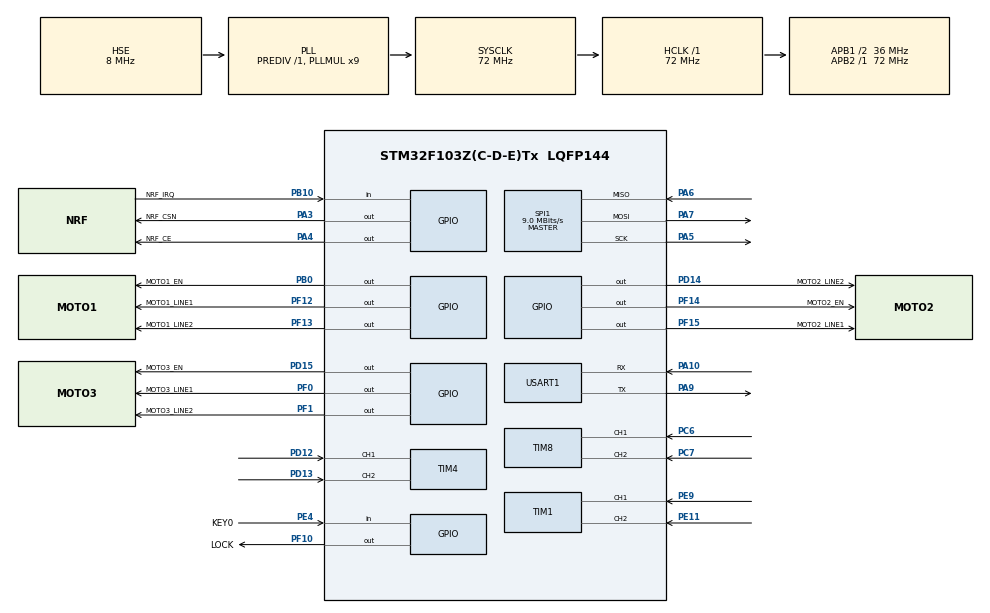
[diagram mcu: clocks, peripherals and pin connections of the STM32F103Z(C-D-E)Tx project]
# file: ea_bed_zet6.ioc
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Mcu.Family=STM32F1
Mcu.Name=STM32F103Z(C-D-E)Tx
Mcu.Package=LQFP144
NVIC.PriorityGroup=NVIC_PRIORITYGROUP_4
OSC_IN.Mode=HSE-External-Oscillator
OSC_IN.Signal=RCC_OSC_IN
OSC_OUT.Mode=HSE-External-Oscillator
OSC_OUT.Signal=RCC_OSC_OUT
PA10.Mode=Asynchronous
PA10.Signal=USART1_RX
PA13.Mode=Serial_Wire
PA13.Signal=SYS_JTMS-SWDIO
PA14.Mode=Serial_Wire
PA14.Signal=SYS_JTCK-SWCLK
PA3.GPIO_Label=NRF_CSN
PA3.GPIO_ModeDefaultOutputPP=GPIO_MODE_OUTPUT_PP
PA3.GPIO_PuPd=GPIO_PULLUP
PA3.PinState=GPIO_PIN_SET
PA3.Signal=GPIO_Output
PA4.GPIO_Label=NRF_CE
PA4.PinState=GPIO_PIN_SET
PA4.Signal=GPIO_Output
PA5.Mode=Full_Duplex_Master
PA5.Signal=SPI1_SCK
PA6.Mode=Full_Duplex_Master
PA6.Signal=SPI1_MISO
PA7.Mode=Full_Duplex_Master
PA7.Signal=SPI1_MOSI
PA9.Mode=Asynchronous
PA9.Signal=USART1_TX
PB0.GPIO_Label=MOTO1_EN
PB0.Signal=GPIO_Output
PB10.GPIO_Label=NRF_IRQ
PB10.GPIO_Mode=GPIO_MODE_INPUT
PB10.GPIO_PuPd=GPIO_PULLUP
PB10.Signal=GPIO_Input
PC6.Signal=S_TIM8_CH1
PC7.Signal=S_TIM8_CH2
PD12.Signal=S_TIM4_CH1
PD13.Signal=S_TIM4_CH2
PD14.GPIO_Label=MOTO2_LINE2
PD14.Signal=GPIO_Output
PD15.GPIO_Label=MOTO3_EN
PD15.Signal=GPIO_Output
PE11.Signal=S_TIM1_CH2
PE4.GPIO_Label=KEY0
PE4.GPIO_PuPd=GPIO_PULLDOWN
PE4.Signal=GPIO_Input
PE9.Signal=S_TIM1_CH1
PF0.GPIO_Label=MOTO3_LINE1
PF0.Signal=GPIO_Output
PF1.GPIO_Label=MOTO3_LINE2
PF1.Signal=GPIO_Output
PF10.GPIO_Label=LOCK
PF10.Signal=GPIO_Output
PF12.GPIO_Label=MOTO1_LINE1
PF12.Signal=GPIO_Output
PF13.GPIO_Label=MOTO1_LINE2
PF13.Signal=GPIO_Output
PF14.GPIO_Label=MOTO2_EN
PF14.Signal=GPIO_Output
PF15.GPIO_Label=MOTO2_LINE1
PF15.Signal=GPIO_Output
ProjectManager.HeapSize=0x200
ProjectManager.StackSize=0x400
ProjectManager.TargetToolchain=MDK-ARM V5.32
RCC.AHBFreq_Value=72000000
RCC.APB1CLKDivider=RCC_HCLK_DIV2
RCC.APB1Freq_Value=36000000
RCC.APB1TimFreq_Value=72000000
RCC.APB2Freq_Value=72000000
RCC.APB2TimFreq_Value=72000000
RCC.HCLKFreq_Value=72000000
RCC.PLLMUL=RCC_PLL_MUL9
RCC.PLLSourceVirtual=RCC_PLLSOURCE_HSE
RCC.SYSCLKFreq_VALUE=72000000
RCC.SYSCLKSource=RCC_SYSCLKSOURCE_PLLCLK
RCC.USBFreq_Value=72000000
SH.S_TIM1_CH1.0=TIM1_CH1,Encoder_Interface
SH.S_TIM1_CH2.0=TIM1_CH2,Encoder_Interface
SH.S_TIM4_CH1.0=TIM4_CH1,Encoder_Interface
SH.S_TIM4_CH2.0=TIM4_CH2,Encoder_Interface
SH.S_TIM8_CH1.0=TIM8_CH1,Encoder_Interface
SH.S_TIM8_CH2.0=TIM8_CH2,Encoder_Interface
SPI1.BaudRatePrescaler=SPI_BAUDRATEPRESCALER_8
SPI1.CalculateBaudRate=9.0 MBits/s
SPI1.Direction=SPI_DIRECTION_2LINES
SPI1.Mode=SPI_MODE_MASTER
SPI1.VirtualType=VM_MASTER
TIM1.EncoderMode=TIM_ENCODERMODE_TI12
TIM4.EncoderMode=TIM_ENCODERMODE_TI12
TIM8.EncoderMode=TIM_ENCODERMODE_TI12
USART1.VirtualMode=VM_ASYNC
board=custom

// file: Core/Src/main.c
/* USER CODE BEGIN Header */
/**
  ******************************************************************************
  * @file           : main.c
  * @brief          : Main program body
  ******************************************************************************
  * @attention
  *
  * <h2><center>&copy; Copyright (c) 2021 STMicroelectronics.
  * All rights reserved.</center></h2>
  *
  * This software component is licensed by ST under BSD 3-Clause license,
  * the "License"; You may not use this file except in compliance with the
  * License. You may obtain a copy of the License at:
  *                        opensource.org/licenses/BSD-3-Clause
  *
  ******************************************************************************
  */
/* USER CODE END Header */
#include "main.h"
#include "spi.h"
#include "tim.h"
#include "usart.h"
#include "gpio.h"

/* USER CODE BEGIN Includes */
#include <stdio.h>
#include "nrf24l01/bsp_nrf24l01.h"
#include "actuator/bsp_actuator.h"
#include "key/bsp_key.h"
#include "global_config.h"
/* USER CODE END Includes */

/* USER CODE BEGIN PTD */
typedef enum
{
	SIGNAL_BACK_UP				= 0x01,				//抬背
	SIGNAL_BACK_DOWN			= 0x02,				//降背
	SIGNAL_FOOT_UP				= 0x03,				//抬腿
	SIGNAL_FOOT_DOWN			= 0x04,				//降腿
	SIGNAL_ROTATE_CHAIR		= 0x05,				//侧坐下床，旋转成椅
	SIGNAL_ROTATE_BED			= 0x06,				//上床平躺
	SIGNAL_PART_MOVE			= 0x07,				//分离移动
	SIGNAL_RESET					= 0x08,				//一键平躺
	SIGNAL_MAX						= 0x09,
} receive_signal_t;
/* USER CODE END PTD */

/* USER CODE BEGIN PD */
#define LOCK()					HAL_GPIO_WritePin(GPIOF, GPIO_PIN_10, GPIO_PIN_SET);
#define UNLOCK()				HAL_GPIO_WritePin(GPIOF, GPIO_PIN_10, GPIO_PIN_RESET);
/* USER CODE END PD */

/* USER CODE BEGIN PV */
__IO uint16_t time_count				= 0;
uint8_t recv_signal 						= 0;
__IO uint8_t now_state 					= 0;
/* USER CODE END PV */

void SystemClock_Config(void);

int main(void)
{
  /* USER CODE BEGIN 1 */
	__IO uint8_t pre_recv_signal		= SIGNAL_MAX;
  /* USER CODE END 1 */

  /* MCU Configuration--------------------------------------------------------*/

  /* Reset of all peripherals, Initializes the Flash interface and the Systick. */
  HAL_Init();

  /* Configure the system clock */
  SystemClock_Config();

  /* Initialize all configured peripherals */
  MX_GPIO_Init();
  MX_USART1_UART_Init();
  MX_SPI1_Init();
  MX_TIM4_Init();
  MX_TIM1_Init();
  MX_TIM8_Init();
  /* USER CODE BEGIN 2 */
	NRF24L01_Init();
	NRF24L01_RX_Mode();
	while(NRF24L01_Check()) {
		printf("check error!\n");
	}
	printf("successed\n");
	ACTUATOR_Init();
  /* USER CODE END 2 */

  /* Infinite loop */
  /* USER CODE BEGIN WHILE */
  while (1)
  {
		if(NRF24L01_RxPacket(&recv_signal) != 1) {
			//接收到信号
			#if DEBUG_INFO
				printf("pre: %d recv: %d\n", pre_recv_signal, recv_signal);
			#endif
			#if TYPE == TYPE_BED
				switch (recv_signal) {
	//					case SIGNAL_BACK_UP:
	//						time_count = 0;
	//						ActuatorStart(ACTUATOR1, DIR_PUSH);
	//						break;
	//					case SIGNAL_BACK_DOWN:
	//						time_count = 0;
	//						ActuatorStart(ACTUATOR1, DIR_BACK);
	//						break;
					case SIGNAL_RESET:
						//goto 0
						ActuatorMoveToMin(ACTUATOR1);
						break;
					case SIGNAL_ROTATE_CHAIR:
						//actuator move xmm
						ActuatorMoveMmSync(ACTUATOR1, 20);
						break;
					case SIGNAL_ROTATE_BED:
						ActuatorMoveMmSync(ACTUATOR1, -20);
						break;
					case SIGNAL_PART_MOVE:
						//actuator move xmm
						//ulock
						UNLOCK();
						break;
					default:
						break;
				}
				now_state = recv_signal;
			#elif TYPE == TYPE_CHAIR
				switch (recv_signal) {
					case SIGNAL_BACK_UP:
						//抬背
						#if DEBUG_INFO
							printf("Start Moto1 pre:%d recv:%d\n", pre_recv_signal, recv_signal);
						#endif
						time_count = 0;
						if(pre_recv_signal == SIGNAL_BACK_UP) {
							break;
						}
						ActuatorStart(ACTUATOR1, DIR_PUSH);
						break;
					case SIGNAL_BACK_DOWN:
						//降背
						time_count = 0;
						if(pre_recv_signal == SIGNAL_BACK_DOWN) {
							break;
						}
						ActuatorStart(ACTUATOR1, DIR_BACK);
						break;
					case SIGNAL_FOOT_UP:
						//抬腿
						time_count = 0;
						if(pre_recv_signal == SIGNAL_FOOT_UP) {
							break;
						}
						ActuatorStart(ACTUATOR2, DIR_PUSH);
						break;
					case SIGNAL_FOOT_DOWN:
						//降腿
						time_count = 0;
						if(pre_recv_signal == SIGNAL_FOOT_DOWN) {
							break;
						}
						ActuatorStart(ACTUATOR2, DIR_BACK);
						break;
					case SIGNAL_RESET:
						//goto 0
						break;
					case SIGNAL_ROTATE_CHAIR:
						/* 旋转成椅 */
						//actuator move xmm
						if(now_state != SIGNAL_ROTATE_CHAIR && now_state != SIGNAL_PART_MOVE) {
							//抬背75
							ActuatorMoveMmSync(ACTUATOR1, 10);
							//抬腿15
							ActuatorMoveMmSync(ACTUATOR2, 10);
							//旋转90（逆时针）
							ActuatorMoveMmSync(ACTUATOR3, 10);
							//大腿0，小腿80
							ActuatorMoveMmSync(ACTUATOR2, -10);
							now_state = SIGNAL_ROTATE_CHAIR;
						}
						break;
					case SIGNAL_ROTATE_BED:
						/* 平躺（复原） */
						//曲腿 0,使大腿板、脚踏板上升至15°
						ActuatorMoveMmSync(ACTUATOR2, 15);
						//旋转90（顺时针）
						ActuatorMoveMmSync(ACTUATOR3, -10);
						//分离推杆，向床平移
						//使大腿板、脚踏板抬复原至0°
						ActuatorMoveMmSync(ACTUATOR2, -15);
						break;
					case SIGNAL_PART_MOVE:
						if(now_state == SIGNAL_ROTATE_CHAIR && now_state == SIGNAL_MAX) {
							//旋转成椅
							//抬背75
							ActuatorMoveMmSync(ACTUATOR1, 10);
							//抬腿15
							ActuatorMoveMmSync(ACTUATOR2, 10);
							//旋转90（逆时针）
							ActuatorMoveMmSync(ACTUATOR3, 10);
							//大腿0，小腿80
							ActuatorMoveMmSync(ACTUATOR2, -10);
							//分离
							//ActuatorMoveMmSync();
							now_state = SIGNAL_PART_MOVE;
						}
						break;
					default:
						break;
				}
				#if DEBUG_INFO
					printf("pre1:%d\n", pre_recv_signal);
				#endif
				pre_recv_signal = recv_signal;
				#if DEBUG_INFO
					printf("pre2:%d\n", pre_recv_signal);
				#endif
			#endif
		}
		#if TYPE == TYPE_BED
			if(now_state == SIGNAL_BACK_UP || now_state == SIGNAL_BACK_UP) {
				HAL_Delay(1);
				time_count++;
				if(time_count == 100) {
					time_count = 0;
					ActuatorStop(ACTUATOR1);
				}
			}
		#elif TYPE == TYPE_CHAIR
			if(pre_recv_signal == SIGNAL_BACK_UP || pre_recv_signal == SIGNAL_BACK_DOWN ||
					pre_recv_signal == SIGNAL_FOOT_UP || pre_recv_signal == SIGNAL_FOOT_DOWN) {
				HAL_Delay(1);
				time_count++;
				if(time_count == 100) {
					#if DEBUG_INFO
						printf("Stop Running!\n");
					#endif
					pre_recv_signal = SIGNAL_MAX;
					time_count = 0;
					ActuatorStop(ACTUATOR1);
					ActuatorStop(ACTUATOR2);
				}
			}
		#endif
    /* USER CODE END WHILE */

  }
}

void SystemClock_Config(void)
{
  RCC_OscInitTypeDef RCC_OscInitStruct = {0};
  RCC_ClkInitTypeDef RCC_ClkInitStruct = {0};

  /** Initializes the RCC Oscillators according to the specified parameters
  * in the RCC_OscInitTypeDef structure.
  */
  RCC_OscInitStruct.OscillatorType = RCC_OSCILLATORTYPE_HSE;
  RCC_OscInitStruct.HSEState = RCC_HSE_ON;
  RCC_OscInitStruct.HSEPredivValue = RCC_HSE_PREDIV_DIV1;
  RCC_OscInitStruct.HSIState = RCC_HSI_ON;
  RCC_OscInitStruct.PLL.PLLState = RCC_PLL_ON;
  RCC_OscInitStruct.PLL.PLLSource = RCC_PLLSOURCE_HSE;
  RCC_OscInitStruct.PLL.PLLMUL = RCC_PLL_MUL9;
  if (HAL_RCC_OscConfig(&RCC_OscInitStruct) != HAL_OK)
  {
    Error_Handler();
  }
  /** Initializes the CPU, AHB and APB buses clocks
  */
  RCC_ClkInitStruct.ClockType = RCC_CLOCKTYPE_HCLK|RCC_CLOCKTYPE_SYSCLK
                              |RCC_CLOCKTYPE_PCLK1|RCC_CLOCKTYPE_PCLK2;
  RCC_ClkInitStruct.SYSCLKSource = RCC_SYSCLKSOURCE_PLLCLK;
  RCC_ClkInitStruct.AHBCLKDivider = RCC_SYSCLK_DIV1;
  RCC_ClkInitStruct.APB1CLKDivider = RCC_HCLK_DIV2;
  RCC_ClkInitStruct.APB2CLKDivider = RCC_HCLK_DIV1;

  if (HAL_RCC_ClockConfig(&RCC_ClkInitStruct, FLASH_LATENCY_2) != HAL_OK)
  {
    Error_Handler();
  }
}

void Error_Handler(void)
{
  __disable_irq();
  while (1)
  {
  }
}

/************************ (C) COPYRIGHT STMicroelectronics *****END OF FILE****/
